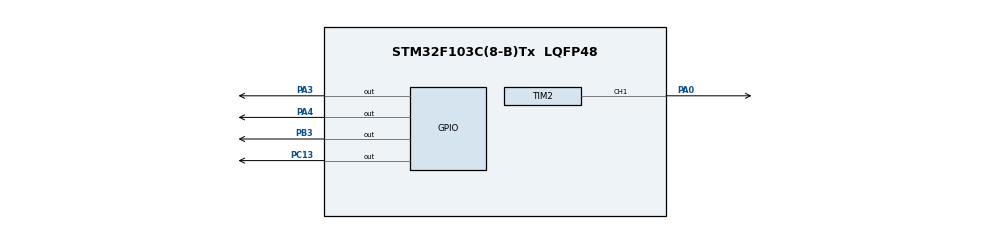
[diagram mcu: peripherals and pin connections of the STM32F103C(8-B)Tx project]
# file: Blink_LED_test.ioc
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Mcu.Family=STM32F1
Mcu.Name=STM32F103C(8-B)Tx
Mcu.Package=LQFP48
NVIC.PriorityGroup=NVIC_PRIORITYGROUP_4
NVIC.TIM2_IRQn=true\:0\:0\:false\:false\:true\:true\:true\:true
PA0-WKUP.Signal=S_TIM2_CH1_ETR
PA3.Signal=GPIO_Output
PA4.Signal=GPIO_Output
PB3.Signal=GPIO_Output
PC13-TAMPER-RTC.Signal=GPIO_Output
PD0-OSC_IN.Mode=HSE-External-Oscillator
PD0-OSC_IN.Signal=RCC_OSC_IN
PD1-OSC_OUT.Mode=HSE-External-Oscillator
PD1-OSC_OUT.Signal=RCC_OSC_OUT
ProjectManager.HeapSize=0x200
ProjectManager.StackSize=0x400
ProjectManager.TargetToolchain=STM32CubeIDE
RCC.APB1Freq_Value=8000000
RCC.APB2Freq_Value=8000000
SH.S_TIM2_CH1_ETR.0=TIM2_CH1,PWM Generation1 CH1
TIM2.Channel-PWM\ Generation1\ CH1=TIM_CHANNEL_1
TIM2.Period=799
TIM2.Prescaler=0
VP_SYS_VS_ND.Mode=No_Debug
VP_TIM2_VS_ClockSourceINT.Mode=Internal
board=custom

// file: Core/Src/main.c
/* USER CODE BEGIN Header */
/**
  ******************************************************************************
  * @file           : main.c
  * @brief          : Main program body
  ******************************************************************************
  * @attention
  *
  * Copyright (c) 2024 STMicroelectronics.
  * All rights reserved.
  *
  * This software is licensed under terms that can be found in the LICENSE file
  * in the root directory of this software component.
  * If no LICENSE file comes with this software, it is provided AS-IS.
  *
  ******************************************************************************
  */
/* USER CODE END Header */
#include "main.h"

/* USER CODE BEGIN Includes */
#include "motorControl.h"
/* USER CODE END Includes */

TIM_HandleTypeDef htim2;

/* USER CODE BEGIN PV */
int i = 0;
int a = 0;
/* USER CODE END PV */

void SystemClock_Config(void);
static void MX_GPIO_Init(void);
static void MX_TIM2_Init(void);

/* USER CODE BEGIN 0 */

void HAL_TIM_PeriodElapsedCallback(TIM_HandleTypeDef* htim)
{
	if (htim->Instance == TIM2) {
		++i;
		if(i == 10000)
		{
		i = 0;
		HAL_GPIO_TogglePin(GPIOB, GPIO_PIN_3);
		}
	}

}
/* USER CODE END 0 */

int main(void)
{

  /* MCU Configuration--------------------------------------------------------*/

  /* Reset of all peripherals, Initializes the Flash interface and the Systick. */
  HAL_Init();

  /* Configure the system clock */
  SystemClock_Config();

  /* Initialize all configured peripherals */
  MX_GPIO_Init();
  MX_TIM2_Init();
  /* USER CODE BEGIN 2 */
  HAL_TIM_Base_Start_IT(&htim2);
  /* USER CODE END 2 */

  /* Infinite loop */
  while (1)
  {

    /* USER CODE BEGIN 3 */
	  rotateMotor(clockWise, 100);
	  HAL_GPIO_WritePin(GPIOC,GPIO_PIN_13, 1);
	  HAL_Delay(2500);
	  rotateMotor(noCommand, 100);
	  HAL_Delay(200);
	  rotateMotor(counterClockWise, 100);
	  HAL_GPIO_WritePin(GPIOC,GPIO_PIN_13, 0);
	  HAL_Delay(2500);
	  rotateMotor(noCommand, 100);
	  HAL_Delay(200);
  }
  /* USER CODE END 3 */
}

void SystemClock_Config(void)
{
  RCC_OscInitTypeDef RCC_OscInitStruct = {0};
  RCC_ClkInitTypeDef RCC_ClkInitStruct = {0};

  /** Initializes the RCC Oscillators according to the specified parameters
  * in the RCC_OscInitTypeDef structure.
  */
  RCC_OscInitStruct.OscillatorType = RCC_OSCILLATORTYPE_HSI;
  RCC_OscInitStruct.HSIState = RCC_HSI_ON;
  RCC_OscInitStruct.HSICalibrationValue = RCC_HSICALIBRATION_DEFAULT;
  RCC_OscInitStruct.PLL.PLLState = RCC_PLL_NONE;
  if (HAL_RCC_OscConfig(&RCC_OscInitStruct) != HAL_OK)
  {
    Error_Handler();
  }

  /** Initializes the CPU, AHB and APB buses clocks
  */
  RCC_ClkInitStruct.ClockType = RCC_CLOCKTYPE_HCLK|RCC_CLOCKTYPE_SYSCLK
                              |RCC_CLOCKTYPE_PCLK1|RCC_CLOCKTYPE_PCLK2;
  RCC_ClkInitStruct.SYSCLKSource = RCC_SYSCLKSOURCE_HSI;
  RCC_ClkInitStruct.AHBCLKDivider = RCC_SYSCLK_DIV1;
  RCC_ClkInitStruct.APB1CLKDivider = RCC_HCLK_DIV1;
  RCC_ClkInitStruct.APB2CLKDivider = RCC_HCLK_DIV1;

  if (HAL_RCC_ClockConfig(&RCC_ClkInitStruct, FLASH_LATENCY_0) != HAL_OK)
  {
    Error_Handler();
  }
}

static void MX_TIM2_Init(void)
{

  TIM_ClockConfigTypeDef sClockSourceConfig = {0};
  TIM_MasterConfigTypeDef sMasterConfig = {0};
  TIM_OC_InitTypeDef sConfigOC = {0};

  htim2.Instance = TIM2;
  htim2.Init.Prescaler = 0;
  htim2.Init.CounterMode = TIM_COUNTERMODE_UP;
  htim2.Init.Period = 799;
  htim2.Init.ClockDivision = TIM_CLOCKDIVISION_DIV1;
  htim2.Init.AutoReloadPreload = TIM_AUTORELOAD_PRELOAD_DISABLE;
  if (HAL_TIM_Base_Init(&htim2) != HAL_OK)
  {
    Error_Handler();
  }
  sClockSourceConfig.ClockSource = TIM_CLOCKSOURCE_INTERNAL;
  if (HAL_TIM_ConfigClockSource(&htim2, &sClockSourceConfig) != HAL_OK)
  {
    Error_Handler();
  }
  if (HAL_TIM_PWM_Init(&htim2) != HAL_OK)
  {
    Error_Handler();
  }
  sMasterConfig.MasterOutputTrigger = TIM_TRGO_RESET;
  sMasterConfig.MasterSlaveMode = TIM_MASTERSLAVEMODE_DISABLE;
  if (HAL_TIMEx_MasterConfigSynchronization(&htim2, &sMasterConfig) != HAL_OK)
  {
    Error_Handler();
  }
  sConfigOC.OCMode = TIM_OCMODE_PWM1;
  sConfigOC.Pulse = 0;
  sConfigOC.OCPolarity = TIM_OCPOLARITY_HIGH;
  sConfigOC.OCFastMode = TIM_OCFAST_DISABLE;
  if (HAL_TIM_PWM_ConfigChannel(&htim2, &sConfigOC, TIM_CHANNEL_1) != HAL_OK)
  {
    Error_Handler();
  }
  HAL_TIM_MspPostInit(&htim2);

}

static void MX_GPIO_Init(void)
{
  GPIO_InitTypeDef GPIO_InitStruct = {0};

  /* GPIO Ports Clock Enable */
  __HAL_RCC_GPIOC_CLK_ENABLE();
  __HAL_RCC_GPIOD_CLK_ENABLE();
  __HAL_RCC_GPIOA_CLK_ENABLE();
  __HAL_RCC_GPIOB_CLK_ENABLE();

  /*Configure GPIO pin Output Level */
  HAL_GPIO_WritePin(GPIOC, GPIO_PIN_13, GPIO_PIN_RESET);

  /*Configure GPIO pin Output Level */
  HAL_GPIO_WritePin(GPIOA, GPIO_PIN_3|GPIO_PIN_4, GPIO_PIN_RESET);

  /*Configure GPIO pin Output Level */
  HAL_GPIO_WritePin(GPIOB, GPIO_PIN_3, GPIO_PIN_RESET);

  /*Configure GPIO pin : PC13 */
  GPIO_InitStruct.Pin = GPIO_PIN_13;
  GPIO_InitStruct.Mode = GPIO_MODE_OUTPUT_PP;
  GPIO_InitStruct.Pull = GPIO_NOPULL;
  GPIO_InitStruct.Speed = GPIO_SPEED_FREQ_LOW;
  HAL_GPIO_Init(GPIOC, &GPIO_InitStruct);

  /*Configure GPIO pins : PA3 PA4 */
  GPIO_InitStruct.Pin = GPIO_PIN_3|GPIO_PIN_4;
  GPIO_InitStruct.Mode = GPIO_MODE_OUTPUT_PP;
  GPIO_InitStruct.Pull = GPIO_NOPULL;
  GPIO_InitStruct.Speed = GPIO_SPEED_FREQ_LOW;
  HAL_GPIO_Init(GPIOA, &GPIO_InitStruct);

  /*Configure GPIO pin : PB3 */
  GPIO_InitStruct.Pin = GPIO_PIN_3;
  GPIO_InitStruct.Mode = GPIO_MODE_OUTPUT_PP;
  GPIO_InitStruct.Pull = GPIO_NOPULL;
  GPIO_InitStruct.Speed = GPIO_SPEED_FREQ_LOW;
  HAL_GPIO_Init(GPIOB, &GPIO_InitStruct);

}

void Error_Handler(void)
{
  __disable_irq();
  while (1)
  {
  }
}
